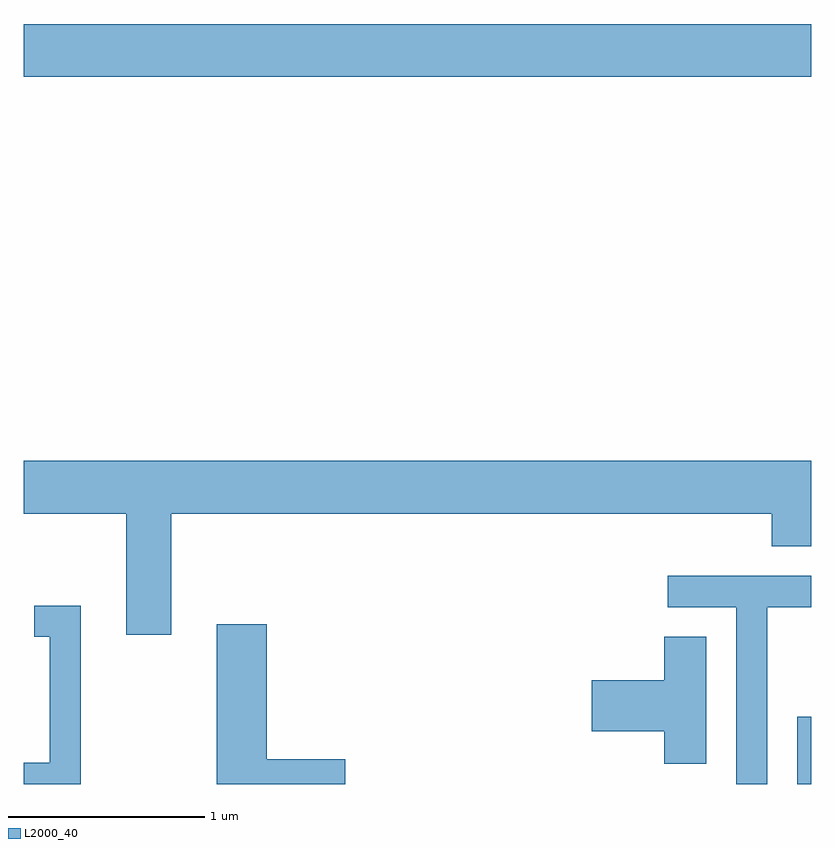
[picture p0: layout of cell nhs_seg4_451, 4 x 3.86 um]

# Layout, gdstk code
import gdstk
lib = gdstk.Library(unit=1e-6, precision=1e-09)
def R(c, l, rs):  # rectangles x0, y0, x1, y1
    for r in rs: c.add(gdstk.rectangle(r[:2], r[2:], *l))
def P(c, l, *ps):  # polygons
    for p in ps: c.add(gdstk.Polygon(p, *l))
L2000_40 = (2000, 40)

nhs_seg4_451 = lib.new_cell('nhs_seg4_451')
R(nhs_seg4_451, L2000_40, [(201.541,1339.982,201.611,1340.324), (197.611,1343.576,201.611,1343.844)])
P(nhs_seg4_451, L2000_40, [(198.359,1341.356),(201.411,1341.356),(201.411,1341.191),(201.611,1341.191),(201.611,1341.624),(197.611,1341.624),(197.611,1341.356),(198.131,1341.356),(198.131,1340.741),(198.359,1340.741)],
  [(201.389,1340.881),(201.611,1340.881),(201.611,1341.039),(200.883,1341.039),(200.883,1340.881),(201.231,1340.881),(201.231,1339.982),(201.389,1339.982)],
  [(197.899,1340.889),(197.663,1340.889),(197.663,1340.731),(197.741,1340.731),(197.741,1340.089),(197.611,1340.089),(197.611,1339.982),(197.899,1339.982)],
  [(199.244,1340.109),(198.844,1340.109),(198.844,1340.794),(198.591,1340.794),(198.591,1339.982),(199.244,1339.982)],
  [(201.079,1340.729),(200.866,1340.729),(200.866,1340.509),(200.496,1340.509),(200.496,1340.251),(200.866,1340.251),(200.866,1340.086),(201.079,1340.086)])

lib.write_gds('nhs_seg4_451.gds')
